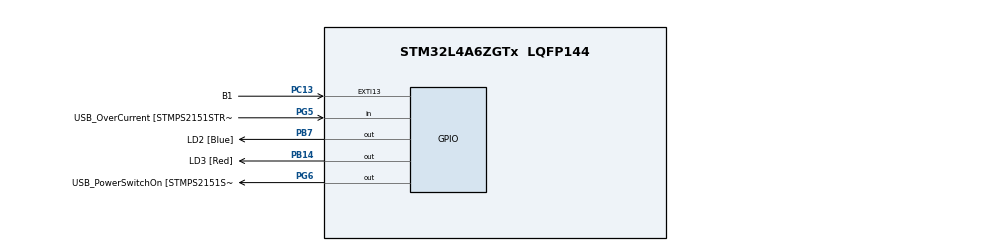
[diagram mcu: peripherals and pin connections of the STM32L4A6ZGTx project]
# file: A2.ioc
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Mcu.Family=STM32L4
Mcu.Name=STM32L4A6ZGTx
Mcu.Package=LQFP144
NVIC.PriorityGroup=NVIC_PRIORITYGROUP_4
PA10.GPIO_Label=USB_ID
PA10.Signal=USB_OTG_FS_ID
PA11.GPIO_Label=USB_DM
PA11.Signal=USB_OTG_FS_DM
PA12.GPIO_Label=USB_DP
PA12.Signal=USB_OTG_FS_DP
PA13\ (JTMS/SWDIO).GPIO_Label=TMS
PA13\ (JTMS/SWDIO).Mode=Trace_Asynchronous_SW
PA13\ (JTMS/SWDIO).Signal=SYS_JTMS-SWDIO
PA14\ (JTCK/SWCLK).GPIO_Label=TCK
PA14\ (JTCK/SWCLK).Mode=Trace_Asynchronous_SW
PA14\ (JTCK/SWCLK).Signal=SYS_JTCK-SWCLK
PA8.GPIO_Label=USB_SOF [TP1]
PA8.Signal=USB_OTG_FS_SOF
PA9.GPIO_Label=USB_VBUS
PA9.Signal=USB_OTG_FS_VBUS
PB14.GPIO_Label=LD3 [Red]
PB14.Signal=GPIO_Output
PB3\ (JTDO/TRACESWO).GPIO_Label=SWO
PB3\ (JTDO/TRACESWO).Mode=Trace_Asynchronous_SW
PB3\ (JTDO/TRACESWO).Signal=SYS_JTDO-SWO
PB7.GPIO_Label=LD2 [Blue]
PB7.Signal=GPIO_Output
PC13.GPIO_Label=B1
PC13.Signal=GPXTI13
PC14-OSC32_IN\ (PC14).Signal=RCC_OSC32_IN
PC15-OSC32_OUT\ (PC15).Signal=RCC_OSC32_OUT
PG5.GPIO_Label=USB_OverCurrent [STMPS2151STR_FAULT]
PG5.Signal=GPIO_Input
PG6.GPIO_Label=USB_PowerSwitchOn [STMPS2151STR_EN]
PG6.Signal=GPIO_Output
PG7.GPIO_Label=STLK_RX [STM32F103CBT6_PA3]
PG7.Signal=LPUART1_TX
PG8.GPIO_Label=STLK_TX [STM32F103CBT6_PA2]
PG8.Signal=LPUART1_RX
PH1-OSC_OUT\ (PH1).Signal=RCC_OSC_OUT
ProjectManager.HeapSize=0x200
ProjectManager.StackSize=0x400
ProjectManager.TargetToolchain=STM32CubeIDE
RCC.APB1CLKDivider=RCC_HCLK_DIV2
RCC.APB1Freq_Value=2000000
RCC.APB1TimFreq_Value=4000000
RCC.HSE_VALUE=8000000
RCC.HSI48_VALUE=48000000
RCC.HSI_VALUE=16000000
RCC.LSE_VALUE=32768
RCC.MSI_VALUE=4000000
RCC.VCOOutputFreq_Value=32000000
board=NUCLEO-L4A6ZG

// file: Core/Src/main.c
/* USER CODE BEGIN Header */
/**
  ******************************************************************************
  * @file           : main.c
  * @brief          : Main program body
  ******************************************************************************
  *
  * PD0 - LED0
  * PD1 - LED1
  * PD2 - LED2
  * PD3 - LED3
  *
  * PD4 - Col 0
  * PD5 - Col 1
  * PD6 - Col 2
  * PD7 - Col 3
  *
  * PD8 - ROW0
  * PD9 - ROW1
  * PDE - ROW2
  * PDF - ROW3
  *
  * @attention
  *
  * Copyright (c) 2023 STMicroelectronics.
  * All rights reserved.
  *
  * This software is licensed under terms that can be found in the LICENSE file
  * in the root directory of this software component.
  * If no LICENSE file comes with this software, it is provided AS-IS.
  *
  ******************************************************************************
  */
/* USER CODE END Header */
#include "main.h"
#include "keypad.h"

void SystemClock_Config(void);

void InitGPIO(void);
void Write4BitLEDs(int num);

int main(void)
{

  /* MCU Configuration--------------------------------------------------------*/

  /* Reset of all peripherals, Initializes the Flash interface and the Systick. */
  HAL_Init();

  /* Configure the system clock */
  SystemClock_Config();

  InitGPIO();

  while (1)
  {
	  int key = ReadKeypad();
	  if (key > -1) // if we have a key press
	  {
		  // Update LEDs
		  Write4BitLEDs(key);
	  }
  }
}

void SystemClock_Config(void)
{
  RCC_OscInitTypeDef RCC_OscInitStruct = {0};
  RCC_ClkInitTypeDef RCC_ClkInitStruct = {0};

  /** Configure the main internal regulator output voltage
  */
  if (HAL_PWREx_ControlVoltageScaling(PWR_REGULATOR_VOLTAGE_SCALE1) != HAL_OK)
  {
    Error_Handler();
  }

  /** Initializes the RCC Oscillators according to the specified parameters
  * in the RCC_OscInitTypeDef structure.
  */
  RCC_OscInitStruct.OscillatorType = RCC_OSCILLATORTYPE_MSI;
  RCC_OscInitStruct.MSIState = RCC_MSI_ON;
  RCC_OscInitStruct.MSICalibrationValue = 0;
  RCC_OscInitStruct.MSIClockRange = RCC_MSIRANGE_6;
  RCC_OscInitStruct.PLL.PLLState = RCC_PLL_NONE;
  if (HAL_RCC_OscConfig(&RCC_OscInitStruct) != HAL_OK)
  {
    Error_Handler();
  }

  /** Initializes the CPU, AHB and APB buses clocks
  */
  RCC_ClkInitStruct.ClockType = RCC_CLOCKTYPE_HCLK|RCC_CLOCKTYPE_SYSCLK
                              |RCC_CLOCKTYPE_PCLK1|RCC_CLOCKTYPE_PCLK2;
  RCC_ClkInitStruct.SYSCLKSource = RCC_SYSCLKSOURCE_MSI;
  RCC_ClkInitStruct.AHBCLKDivider = RCC_SYSCLK_DIV1;
  RCC_ClkInitStruct.APB1CLKDivider = RCC_HCLK_DIV2;
  RCC_ClkInitStruct.APB2CLKDivider = RCC_HCLK_DIV1;

  if (HAL_RCC_ClockConfig(&RCC_ClkInitStruct, FLASH_LATENCY_0) != HAL_OK)
  {
    Error_Handler();
  }
}

/* USER CODE BEGIN 4 */
// Initialize GPIO Registers
void InitGPIO(void)
{
	// Initialize Port D GPIO
	RCC->AHB2ENR   |=  (RCC_AHB2ENR_GPIODEN);

	// Reset Port D pins
	GPIOD->MODER = 0;

	// Rows set as inputs

	// Set column pins and LEDs as outputs
	GPIOD->MODER |= (
			GPIO_MODER_MODE0_0 | GPIO_MODER_MODE1_0 | GPIO_MODER_MODE2_0 | GPIO_MODER_MODE3_0 |
			GPIO_MODER_MODE4_0 | GPIO_MODER_MODE5_0 | GPIO_MODER_MODE6_0 | GPIO_MODER_MODE7_0
	);

	// Clear output types for columns and LEDs (outputs)
	GPIOD->OTYPER  &= ~(
			GPIO_OTYPER_OT0 | GPIO_OTYPER_OT1 | GPIO_OTYPER_OT2 | GPIO_OTYPER_OT3 |
			GPIO_OTYPER_OT4 | GPIO_OTYPER_OT5 | GPIO_OTYPER_OT6 | GPIO_OTYPER_OT7
	);

	// Clear pull ups / downs for columns and LEDs (outputs)
	GPIOD->PUPDR   &= ~(
			GPIO_PUPDR_PUPD0 | GPIO_PUPDR_PUPD1 | GPIO_PUPDR_PUPD2 | GPIO_PUPDR_PUPD3 |
			GPIO_PUPDR_PUPD4 | GPIO_PUPDR_PUPD5 | GPIO_PUPDR_PUPD6 | GPIO_PUPDR_PUPD7
	);

	// Set pull downs for rows
	GPIOD->PUPDR |= (GPIO_PUPDR_PUPD8_1 | GPIO_PUPDR_PUPD9_1 | GPIO_PUPDR_PUPD14_1 | GPIO_PUPDR_PUPD15_1);

	// Set output speeds for columns and LEDs
	GPIOD->OSPEEDR |=  ((3 << GPIO_OSPEEDR_OSPEED0_Pos) |
	                    (3 << GPIO_OSPEEDR_OSPEED1_Pos) |
						(3 << GPIO_OSPEEDR_OSPEED2_Pos) |
						(3 << GPIO_OSPEEDR_OSPEED3_Pos) |
						(3 << GPIO_OSPEEDR_OSPEED4_Pos) |
						(3 << GPIO_OSPEEDR_OSPEED5_Pos) |
						(3 << GPIO_OSPEEDR_OSPEED6_Pos) |
						(3 << GPIO_OSPEEDR_OSPEED7_Pos)
	);

	// Reset all outputs
	GPIOD->ODR = 0;
}

// Writes a 4 bit value to the LEDs
void Write4BitLEDs(int num)
{
	// Mask and set and clear corresponding bits
	GPIOD->BSRR = (0xF & num) | ((0xF & ~num) << 16);
}

/* USER CODE END 4 */

void Error_Handler(void)
{
  __disable_irq();
  while (1)
  {
  }
}
